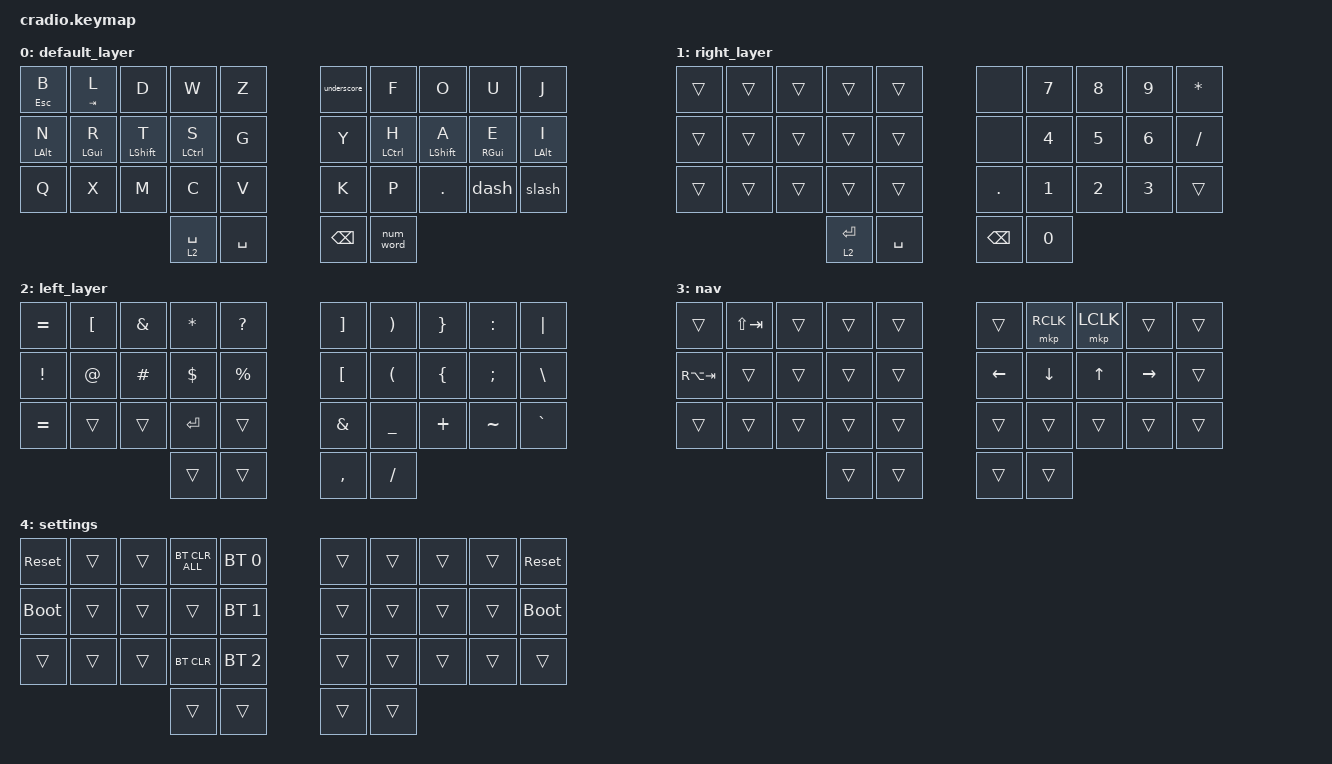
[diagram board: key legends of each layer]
// Copyright (c) 2022 The ZMK Contributors
// SPDX-License-Identifier: MIT

#include <dt-bindings/zmk/mouse.h>
#include <behaviors.dtsi>
#include <dt-bindings/zmk/bt.h>
#include <dt-bindings/zmk/keys.h>
#include <dt-bindings/zmk/pointing.h>

&mt {
    tapping-term-ms = <400>;
    flavor = "tap-preferred";
};

&mmv {
    time-to-max-speed-ms = <200>;
    acceleration-exponent = <2>;
    delay-ms = <0>;
};

/ {
    behaviors {
        num_word: behavior_num_word {
            compatible = "zmk,behavior-caps-word";
            label = "NUM_WORD";
            #binding-cells = <0>;
            layers = <1>;                                // insert location of numbers layer here
            continue-list = <BACKSPACE DELETE DOT COMMA SLASH ASTERISK>;  // adjust as desired
            ignore-numbers;                                // numbers don't deactivate the layer
        };

        pinkyhm: pinkyhm {
            compatible = "zmk,behavior-hold-tap";
            label = "PINKYHM";
            bindings = <&kp>, <&kp>;

            #binding-cells = <2>;
            tapping-term-ms = <349>;
            flavor = "tap-preferred";
        };

        underscore: underscore {
            compatible = "zmk,behavior-mod-morph";
            label = "UNDERSCORE";
            bindings = <&kp SQT>, <&kp UNDERSCORE>;

            #binding-cells = <0>;
            mods = <(MOD_LSFT)>;
            keep-mods = <(MOD_LSFT)>;
        };

        slash: slash {
            compatible = "zmk,behavior-mod-morph";
            label = "SLASH";
            bindings = <&kp SLASH>, <&kp LESS_THAN>;

            #binding-cells = <0>;
            mods = <(MOD_LSFT)>;
            keep-mods = <(MOD_LSFT)>;
        };

        dash: dash {
            compatible = "zmk,behavior-mod-morph";
            label = "DASH";
            bindings = <&kp MINUS>, <&kp DOUBLE_QUOTES>;

            #binding-cells = <0>;
            mods = <(MOD_LSFT)>;
            keep-mods = <(MOD_LSFT)>;
        };

        enter: enter {
            compatible = "zmk,behavior-hold-tap";
            label = "ENTER";
            bindings = <&mo>, <&kp>;

            #binding-cells = <2>;
            tapping-term-ms = <350>;
        };
    };

    conditional_layers { compatible = "zmk,conditional-layers"; };

    combos {
        compatible = "zmk,combos";

        homepanic {
            bindings = <&to 0>;
            key-positions = <31 32>;
        };

        settings {
            bindings = <&mo 4>;
            key-positions = <31 30>;
            layers = <0 2 4 3 1>;
        };

        nav {
            bindings = <&to 3>;
            key-positions = <30 33>;
        };
    };

    keymap {
        compatible = "zmk,keymap";

        default_layer {
            bindings = <
&mt ESCAPE B         &mt TAB L       &kp D             &kp W               &kp Z        &underscore    &kp F               &kp O         &kp U            &kp J
&pinkyhm LEFT_ALT N  &mt LEFT_GUI R  &mt LEFT_SHIFT T  &mt LEFT_CONTROL S  &kp G        &kp Y          &mt LEFT_CONTROL H  &mt LSHIFT A  &mt RIGHT_GUI E  &pinkyhm LEFT_ALT I
&kp Q                &kp X           &kp M             &kp C               &kp V        &kp K          &kp P               &kp PERIOD    &dash            &slash
                                                       &lt 2 SPACE         &kp SPACE    &kp BACKSPACE  &num_word
            >;
        };

        right_layer {
            bindings = <
&trans  &trans  &trans  &trans          &trans       &none          &kp N7  &kp N8  &kp N9  &kp ASTERISK
&trans  &trans  &trans  &trans          &trans       &none          &kp N4  &kp N5  &kp N6  &kp SLASH
&trans  &trans  &trans  &trans          &trans       &kp PERIOD     &kp N1  &kp N2  &kp N3  &trans
                        &enter 2 ENTER  &kp SPACE    &kp BACKSPACE  &kp N0
            >;
        };

        left_layer {
            bindings = <
&kp EQUAL  &kp LBKT  &kp AMPERSAND  &kp ASTERISK  &kp QUESTION    &kp RIGHT_BRACKET  &kp RIGHT_PARENTHESIS  &kp RIGHT_BRACE  &kp COLON      &kp PIPE
&kp EXCL   &kp AT    &kp HASH       &kp DLLR      &kp PRCNT       &kp LEFT_BRACKET   &kp LEFT_PARENTHESIS   &kp LEFT_BRACE   &kp SEMICOLON  &kp BACKSLASH
&kp EQUAL  &trans    &trans         &kp ENTER     &trans          &kp AMPS           &kp UNDER              &kp PLUS         &kp TILDE      &kp GRAVE
                                    &trans        &trans          &kp COMMA          &kp SLASH
            >;
        };

        nav {
            bindings = <
&trans       &kp LS(TAB)  &trans  &trans  &trans    &trans    &mkp RCLK       &mkp LCLK     &trans     &trans
&kp RA(TAB)  &trans       &trans  &trans  &trans    &kp LEFT  &kp DOWN_ARROW  &kp UP_ARROW  &kp RIGHT  &trans
&trans       &trans       &trans  &trans  &trans    &trans    &trans          &trans        &trans     &trans
                                  &trans  &trans    &trans    &trans
            >;
        };

        settings {
            bindings = <
&sys_reset   &trans  &trans  &bt BT_CLR_ALL  &bt BT_SEL 0    &trans  &trans  &trans  &trans  &sys_reset
&bootloader  &trans  &trans  &trans          &bt BT_SEL 1    &trans  &trans  &trans  &trans  &bootloader
&trans       &trans  &trans  &bt BT_CLR      &bt BT_SEL 2    &trans  &trans  &trans  &trans  &trans
                             &trans          &trans          &trans  &trans
            >;
        };
    };
};
